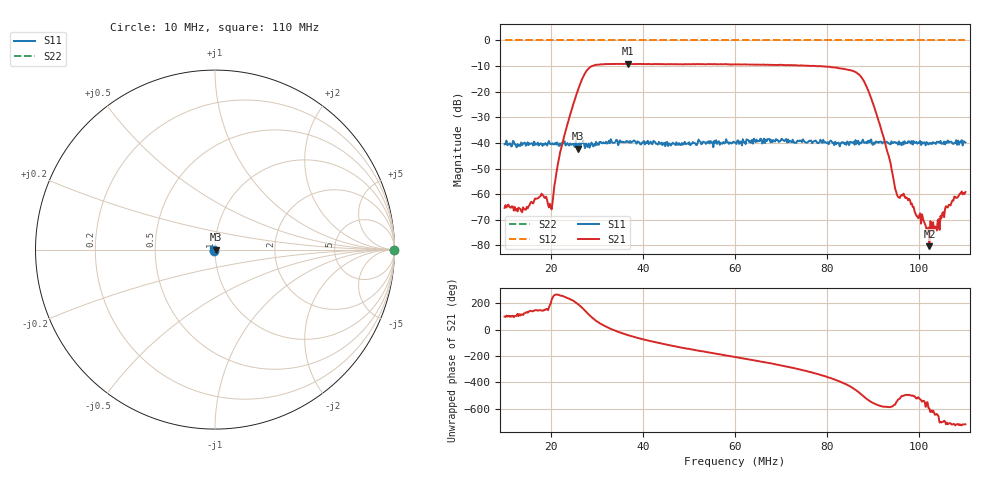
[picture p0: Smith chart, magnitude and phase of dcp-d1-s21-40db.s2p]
! Anritsu VNA Master:  Model: MS2034B/10/19/501
! SN:  1337062
! /bd0/ovro-jan-2016/dcp-d1-s21-40db.s2p
! Existing Calibration Information:
! TYPE:  Current Settings,  Active Cal Settings
! TIME:  01/08/2016 09:13:18 PM,  01/08/2016 08:43:08 PM
! INTERNAL TEMP:  41.8 C,  45.0 C
! # POINTS:  500,  500
! START FREQ:  10.000 MHz,  10.000 MHz
! STOP FREQ:  110.000 MHz,  110.000 MHz
! SOURCE POWER:  Low,  Low
! IFBW:  100 Hz,  100 Hz
! AVG FACTOR:  3 ,  3
! REF PLANE 1:  2.2245 m,  2.2245 m
! REF PLANE 2:  0 mm,  0 mm
! CAL TYPE:  1P2P S11,S21,  1P2P S11,S21
! CAL METHOD:  SOLT,  SOLT
! CAL LINE TYPE:  Coax,  Coax
! DUT PORT 1:  K-Conn(M),  K-Conn(M)
! DUT PORT 2:  N-Conn(M),  N-Conn(M)
! CAL STATUS:  OK: Accuracy High,  --
# GHZ S DB R 50.0
! FREQ.GHZ  S11DB  S11A  S21DB  S21A  S12DB  S12A  S22DB  S22A
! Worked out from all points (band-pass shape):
!   500 points, 10 MHz to 110 MHz, reference 50 ohm
!   highest |S21| = -9.11 dB at 36.85 MHz (marker M1); lowest = -80.3 dB at 102.2 MHz (marker M2)
!   |S21| within 3 dB of the highest: 27.69 MHz to 85.92 MHz (58.22 MHz wide, 102 % of centre)
!   lowest |S11| = -42.2 dB at 25.83 MHz (marker M3), VSWR 1.02, Z = 50.8 - j0.13 ohm
!   |S11| at or under -10 dB: start of sweep to end of sweep
!   |S22| runs from 0.0 to 0.0 dB; largest |S21 - S12| = 1.3
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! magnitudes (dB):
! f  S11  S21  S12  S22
! 10 MHz  -40.5  -65.4  0.0  0.0
! 14.21 MHz  -40.2  -65.9  0.0  0.0
! 18.02 MHz  -40.3  -59.8  0.0  0.0
! 20.02 MHz  -40.5  -65.3  0.0  0.0
! 22.42 MHz  -39.9  -41.1  0.0  0.0
! 25.83 MHz  -42.2  -19.8  0.0  0.0
! 26.83 MHz  -40.1  -15.0  0.0  0.0
! 29.24 MHz  -41.4  -9.9  0.0  0.0
! 36.85 MHz  -39.5  -9.1  0.0  0.0
! 43.47 MHz  -39.6  -9.2  0.0  0.0
! 60.1 MHz  -39.8  -9.4  0.0  0.0
! 76.73 MHz  -40.1  -9.9  0.0  0.0
! 87.35 MHz  -40.1  -14.1  0.0  0.0
! 89.96 MHz  -40.8  -24.7  0.0  0.0
! 93.37 MHz  -40.1  -45.0  0.0  0.0
! 95.37 MHz  -40.7  -61.0  0.0  0.0
! 97.58 MHz  -39.4  -62.4  0.0  0.0
! 101.8 MHz  -40.1  -74.9  0.0  0.0
! 102.2 MHz  -40.0  -80.3  0.0  0.0
! 104 MHz  -39.6  -70.4  0.0  0.0
! 107.4 MHz  -40.4  -62.6  0.0  0.0
! 110 MHz  -39.8  -59.2  0.0  0.0
